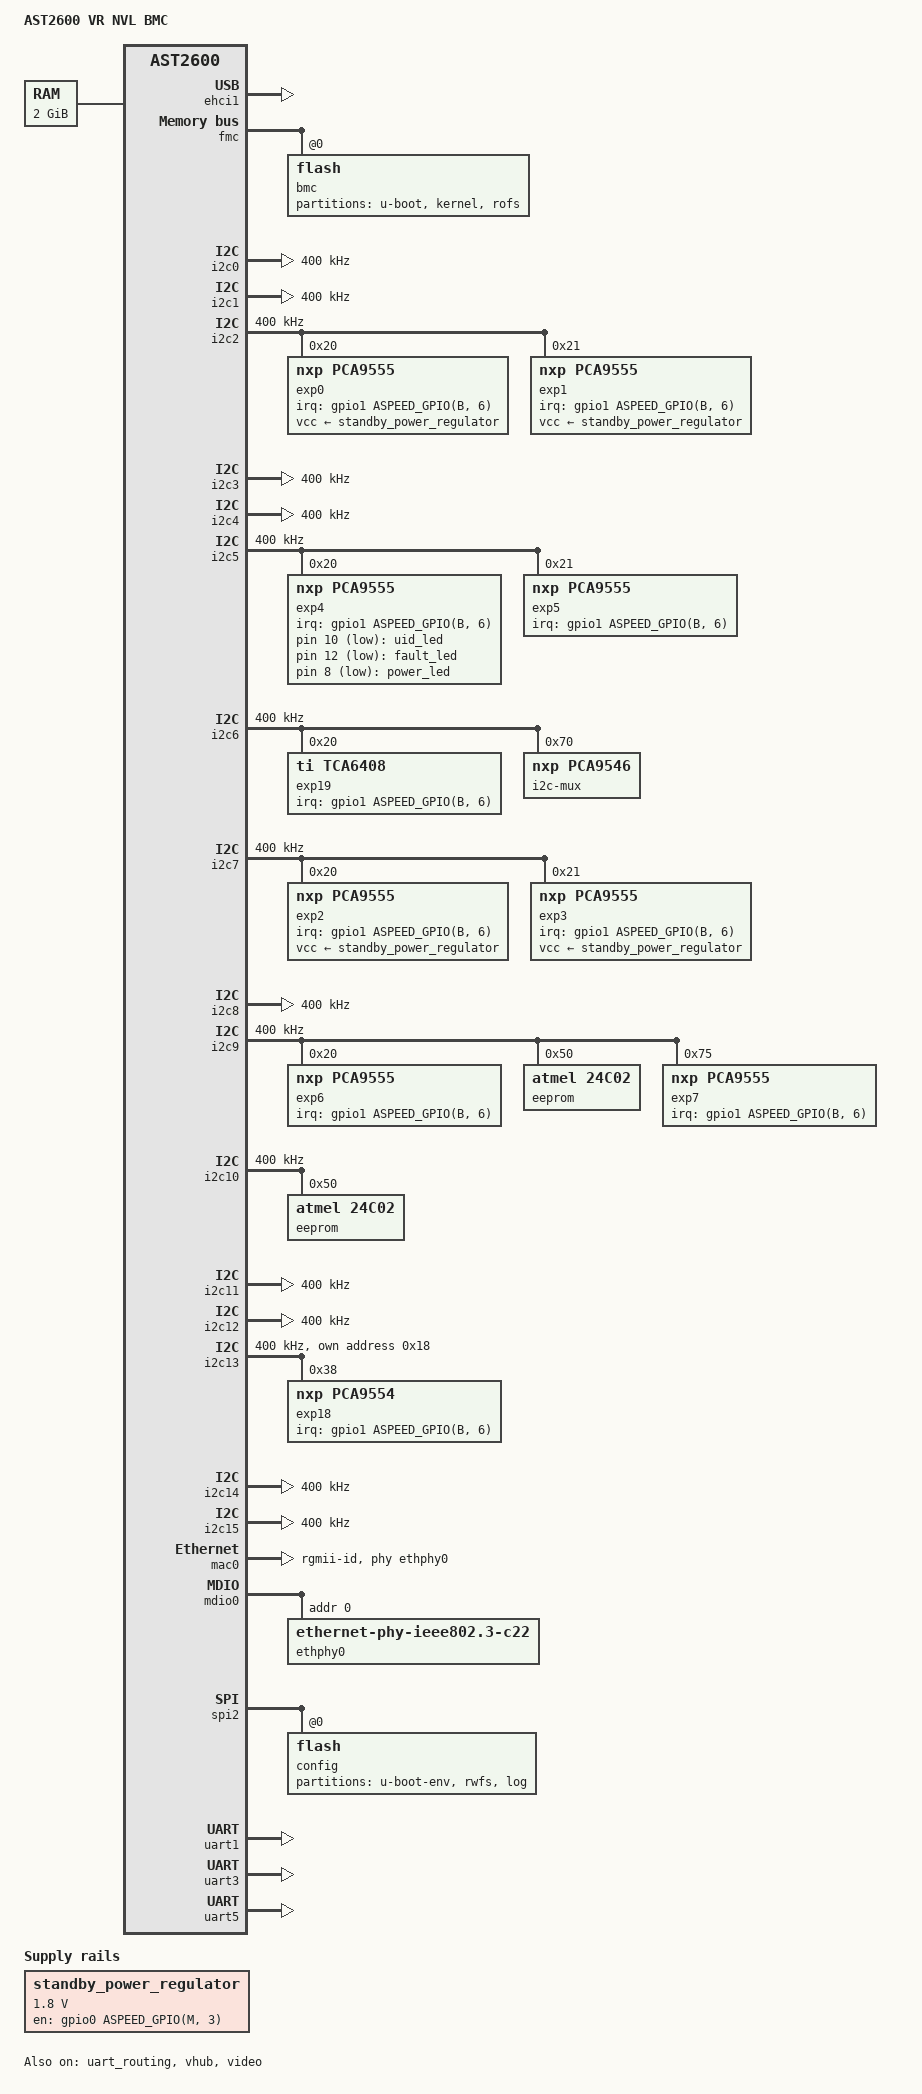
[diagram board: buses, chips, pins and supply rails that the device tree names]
// SPDX-License-Identifier: GPL-2.0
// Copyright (c) 2026 NVIDIA Corporation

/dts-v1/;

#include "aspeed-g6.dtsi"
#include <dt-bindings/gpio/aspeed-gpio.h>
#include <dt-bindings/i2c/i2c.h>
#include <dt-bindings/interrupt-controller/irq.h>
#include <dt-bindings/leds/common.h>

/ {
	model = "AST2600 VR NVL BMC";
	compatible = "nvidia,vr-nvl-bmc", "aspeed,ast2600";

	aliases {
		i2c16 = &i2c_usbhub;
		i2c17 = &i2c_tpm;
		i2c18 = &i2c_dp;
		serial2 = &uart3;
		serial4 = &uart5;
	};

	chosen {
		stdout-path = &uart5;
	};

	memory@80000000 {
		device_type = "memory";
		reg = <0x80000000 0x80000000>;
	};

	reserved-memory {
		#address-cells = <1>;
		#size-cells = <1>;
		ranges;

		vga_memory: framebuffer@9f000000 {
			no-map;
			reg = <0x9f000000 0x01000000>;	/* 16 MiB */
		};

		ramoops@a0000000 {
			compatible = "ramoops";
			reg = <0xa0000000 0x100000>;	/* 1 MiB */
			record-size = <0x10000>;	/* 64 KiB */
			max-reason = <2>;		/* KMSG_DUMP_OOPS */
		};

		gfx_memory: framebuffer {
			compatible = "shared-dma-pool";
			size = <0x01000000>;
			alignment = <0x01000000>;
			reusable;
		};

		video_engine_memory: jpegbuffer {
			compatible = "shared-dma-pool";
			size = <0x02000000>;		/* 32 MiB */
			alignment = <0x01000000>;
			reusable;
		};
	};

	standby_power_regulator: regulator-standby-power {
		compatible = "regulator-fixed";
		regulator-name = "standby_power";
		regulator-min-microvolt = <1800000>;
		regulator-max-microvolt = <1800000>;
		gpios = <&gpio0 ASPEED_GPIO(M, 3) GPIO_ACTIVE_HIGH>;
		enable-active-high;
		regulator-always-on;
		regulator-boot-on;
	};

	leds {
		compatible = "gpio-leds";

		led-0 {
			label = "uid_led";
			gpios = <&exp4 10 GPIO_ACTIVE_LOW>;
		};

		led-1 {
			label = "fault_led";
			gpios = <&exp4 12 GPIO_ACTIVE_LOW>;
		};

		led-2 {
			label = "power_led";
			gpios = <&exp4 8 GPIO_ACTIVE_LOW>;
		};
	};
};

&ehci1 {
	#address-cells = <1>;
	#size-cells = <0>;
	status = "okay";

	hub@1 {
		reg = <1>;
		#address-cells = <1>;
		#size-cells = <0>;

		hub@1 {
			reg = <1>;
			#address-cells = <1>;
			#size-cells = <0>;

			hub@4 {
				reg = <4>;
				#address-cells = <1>;
				#size-cells = <0>;

				/* port 1: BlueField-4 SMA management interface */
				device@1 {
					reg = <1>;
					#address-cells = <2>;
					#size-cells = <0>;

					interface@1 {
						reg = <1 1>;
					};
				};

				cp2112g: device@2 {
					reg = <2>;
					gpio-controller;
					#gpio-cells = <2>;
					interrupt-controller;
					#interrupt-cells = <2>;
					gpio-line-names =
						"BF4_USB_MCU_RECOVERY_L",
						"BF4_USB_MCU_RST_L",
						"BF4_USB_FORCE_FNP_L",
						"BF4_GLOBAL_WP",
						"BF4_FORCE_POR_L",
						"BF4_BMC_EROT_RST_L",
						"BF4_BMC_EROT_RECOVERY_L",
						"BF4_THERM_SHUTDOWN";
				};
			};
		};

		hub@2 {
			reg = <2>;
			#address-cells = <1>;
			#size-cells = <0>;

			hub@1 {
				reg = <1>;
				#address-cells = <1>;
				#size-cells = <0>;

				hub@3 {
					reg = <3>;
					#address-cells = <1>;
					#size-cells = <0>;
					device@1 {
						reg = <1>;
						#address-cells = <2>;
						#size-cells = <0>;

						iob1_sma: interface@1 {
							reg = <1 1>;

							gpio-controller;
							#gpio-cells = <2>;
							interrupt-controller;
							#interrupt-cells = <2>;
						};
					};

					cp2112c: device@2 {
						reg = <2>;
						gpio-controller;
						#gpio-cells = <2>;
						interrupt-controller;
						#interrupt-cells = <2>;
						gpio-line-names =
							"IOB1_MCP_P0_2-B",
							"IOB1_MCU_RST_L-O",
							"IOB1_MCU_RECOVERY_L-O",
							"IOB1_GLOBAL_WP-O",
							"IOB1_GLOBAL_ADDR_L_R-O",
							"IOB1_GLOBAL_ADDR_U_D-O",
							"IOB1_PWR_EN-O",
							"IOB1_MCU_READY_STATUS-I";
					};
				};

				hub@4 {
					reg = <4>;
					#address-cells = <1>;
					#size-cells = <0>;
					device@1 {
						reg = <1>;
						#address-cells = <2>;
						#size-cells = <0>;

						iob0_sma: interface@1 {
							reg = <1 1>;

							gpio-controller;
							#gpio-cells = <2>;
							interrupt-controller;
							#interrupt-cells = <2>;
						};
					};

					cp2112d: device@2 {
						reg = <2>;
						gpio-controller;
						#gpio-cells = <2>;
						interrupt-controller;
						#interrupt-cells = <2>;
						gpio-line-names =
							"IOB0_MCP_P0_2-B",
							"IOB0_MCU_RST_L-O",
							"IOB0_MCU_RECOVERY_L-O",
							"IOB0_GLOBAL_WP-O",
							"IOB0_GLOBAL_ADDR_L_R-O",
							"IOB0_GLOBAL_ADDR_U_D-O",
							"IOB0_PWR_EN-O",
							"IOB0_MCU_READY_STATUS-I";
					};
				};

				device@1 {
					reg = <1>;
					#address-cells = <2>;
					#size-cells = <0>;

					cp2112a: interface@1 {
						reg = <1 1>;
						gpio-controller;
						#gpio-cells = <2>;
						interrupt-controller;
						#interrupt-cells = <2>;
					};
				};
			};

			hub@2 {
				reg = <2>;
				#address-cells = <1>;
				#size-cells = <0>;

				hub@3 {
					reg = <3>;
					#address-cells = <1>;
					#size-cells = <0>;
					device@1 {
						reg = <1>;
						#address-cells = <2>;
						#size-cells = <0>;

						iob2_sma: interface@1 {
							reg = <1 1>;

							gpio-controller;
							#gpio-cells = <2>;
							interrupt-controller;
							#interrupt-cells = <2>;
						};
					};

					cp2112e: device@2 {
						reg = <2>;
						gpio-controller;
						#gpio-cells = <2>;
						interrupt-controller;
						#interrupt-cells = <2>;
						gpio-line-names =
							"IOB2_MCP_P0_2-B",
							"IOB2_MCU_RST_L-O",
							"IOB2_MCU_RECOVERY_L-O",
							"IOB2_GLOBAL_WP-O",
							"IOB2_GLOBAL_ADDR_L_R-O",
							"IOB2_GLOBAL_ADDR_U_D-O",
							"IOB2_PWR_EN-O",
							"IOB2_MCU_READY_STATUS-I";
					};
				};

				hub@4 {
					reg = <4>;
					#address-cells = <1>;
					#size-cells = <0>;
					device@1 {
						reg = <1>;
						#address-cells = <2>;
						#size-cells = <0>;

						iob3_sma: interface@1 {
							reg = <1 1>;

							gpio-controller;
							#gpio-cells = <2>;
							interrupt-controller;
							#interrupt-cells = <2>;
						};
					};

					cp2112f: device@2 {
						reg = <2>;
						gpio-controller;
						#gpio-cells = <2>;
						interrupt-controller;
						#interrupt-cells = <2>;
						gpio-line-names =
							"IOB3_MCP_P0_2-B",
							"IOB3_MCU_RST_L-O",
							"IOB3_MCU_RECOVERY_L-O",
							"IOB3_GLOBAL_WP-O",
							"IOB3_GLOBAL_ADDR_L_R-O",
							"IOB3_GLOBAL_ADDR_U_D-O",
							"IOB3_PWR_EN-O",
							"IOB3_MCU_READY_STATUS-I";
					};
				};

				device@1 {
					reg = <1>;
					#address-cells = <2>;
					#size-cells = <0>;

					cp2112b: interface@1 {
						reg = <1 1>;
						gpio-controller;
						#gpio-cells = <2>;
						interrupt-controller;
						#interrupt-cells = <2>;
					};
				};
			};
		};
	};
};

&fmc {
	status = "okay";

	flash@0 {
		label = "bmc";
		status = "okay";

		partitions {
			compatible = "fixed-partitions";
			#address-cells = <1>;
			#size-cells = <1>;

			partition@0 {
				reg = <0x0 0xe0000>;		/* 896 KiB */
				label = "u-boot";
			};

			partition@100000 {
				reg = <0x100000 0x900000>;	/* 9 MiB */
				label = "kernel";
			};

			partition@a00000 {
				/*
				 * extends to end of 64 MiB - 4 KiB; last
				 * 4 KiB reserved for EROT image
				 */
				reg = <0xa00000 0x35ff000>;
				label = "rofs";
			};
		};
	};
};

&gpio0 {
	gpio-line-names =
		/* A0-A7 */ "", "", "", "", "", "", "", "",
		/* B0-B7 */ "", "", "", "", "", "", "", "",
		/* C0-C7 */ "", "BF4_USB_RST_L-O", "", "", "", "", "", "",
		/* D0-D7 */ "", "", "", "", "", "FPGA_PEX_RST_L", "", "",
		/* E0-E7 */ "RTL8221_PHY_RST_L-O", "RTL8211_PHY_INT_L-I",
			    "", "", "", "", "", "MUX_SGPIO_SEL-O",
		/* F0-F7 */ "", "", "", "", "", "", "", "",
		/* G0-G7 */ "", "", "", "", "", "", "", "",
		/* H0-H7 */ "", "", "", "", "", "", "", "",
		/* I0-I7 */ "", "", "", "", "", "QSPI2_RST_L-O",
			    "GLOBAL_WP_BMC-I", "BMC_DDR4_TEN-O",
		/* J0-J7 */ "", "", "", "", "", "", "", "",
		/* K0-K7 */ "", "", "", "", "", "", "", "",
		/* L0-L7 */ "", "", "", "", "", "", "", "",
		/* M0-M7 */ "USB_HUB_RST_N-O", "BMC_FRU_WP-O",
			    "", "HMC_STBY_POWER_EN-O", "STBY_POWER_PG-I",
			    "PCIE_EP_RST_L-O", "", "",
		/* N0-N7 */ "", "", "", "", "", "", "", "",
		/* O0-O7 */ "", "", "", "", "", "", "", "",
		/* P0-P7 */ "", "", "", "", "", "", "", "",
		/* Q0-Q7 */ "", "", "", "", "", "", "", "",
		/* R0-R7 */ "", "SP0_AP_INTR_N-I", "", "", "", "", "", "",
		/* S0-S7 */ "", "", "", "", "", "", "", "",
		/* T0-T7 */ "", "", "", "", "", "", "", "",
		/* U0-U7 */ "", "", "", "", "", "", "", "",
		/* V0-V7 */ "", "", "", "", "",
			    "PCB_TEMP_ALERT-I", "", "",
		/* W0-W7 */ "", "", "", "", "", "", "", "CPU_RST_L-I",
		/* X0-X7 */ "", "", "", "", "", "", "", "",
		/* Y0-Y7 */ "", "", "", "EMMC_RST-O", "", "", "", "",
		/* Z0-Z7 */ "HMC_EROT_SPI_INT_L-I",
			    "", "", "", "", "", "", "";
};

&gpio1 {
	gpio-line-names =
		/* A0-A7 */ "", "", "", "", "", "", "", "",
		/* B0-B7 */ "", "", "", "", "AP_EROT_REQ-O",
			    "EROT_AP_GNT-I", "IO_EXPANDER_INT_L-I", "",
		/* C0-C7 */ "", "", "", "", "", "", "", "",
		/* D0-D7 */ "", "", "", "", "", "", "",
			    "I2C_SSIF_ALERT_L-I",
		/* E0-E7 */ "", "", "", "", "", "", "", "";
};

/* SSIF (CPU0 host IPMI) */
&i2c0 {
	clock-frequency = <400000>;
	status = "okay";
};

/* BMC <-> HMC management (FRU proxy) */
&i2c1 {
	clock-frequency = <400000>;
	status = "okay";
};

&i2c2 {
	clock-frequency = <400000>;
	status = "okay";

	exp0: gpio@20 {
		compatible = "nxp,pca9555";
		reg = <0x20>;
		interrupt-parent = <&gpio1>;
		interrupts = <ASPEED_GPIO(B, 6) IRQ_TYPE_LEVEL_LOW>;
		interrupt-controller;
		#interrupt-cells = <2>;
		gpio-controller;
		#gpio-cells = <2>;
		vcc-supply = <&standby_power_regulator>;
		gpio-line-names =
			"B0_M0_SHDN_FORCE_L-O",
			"B0_M0_STBY_POWER_PG-I",
			"B0_M0_THERM_OVERT_L-I",
			"B0_M0_THERM_WARN_L-I",
			"B0_M0_GLOBAL_WP-O",
			"B0_M0_USB_HUB0_RST_L-O",
			"B0_M0_PRE_SYS_RST_L-O",
			"B0_M0_LEAK_DETECT_ALERT_L-I",
			"B0_M0_RUN_POWER_EN-O",
			"B0_M0_RUN_POWER_PG-I",
			"B0_M0_CPU_CHIPTHROT_L-O",
			"B0_M0_SHDN_REQ_L-O",
			"B0_M0_CPU_SHDN_OK_L-I",
			"B0_M0_CPLD_READY-I",
			"B0_M0_PWR_BRAKE_L-O",
			"B0_M0_PWR_BRAKE_STATUS_L-I";
	};

	exp1: gpio@21 {
		compatible = "nxp,pca9555";
		reg = <0x21>;
		interrupt-parent = <&gpio1>;
		interrupts = <ASPEED_GPIO(B, 6) IRQ_TYPE_LEVEL_LOW>;
		interrupt-controller;
		#interrupt-cells = <2>;
		gpio-controller;
		#gpio-cells = <2>;
		vcc-supply = <&standby_power_regulator>;
		gpio-line-names =
			"B0_M0_I2C_BUS_MUX_RESET_L-O",
			"B0_M0_HPM_MCU_OK-I",
			"B0_M0_CPU_L0_RST_IND_L-O",
			"B0_M0_C0_SOCAMM_DAC_SEL0-O",
			"B0_M0_C1_SOCAMM_DAC_SEL1-O",
			"B0_M0_C0_SOCAMM_I2C_SEL_R-O",
			"B0_M0_C1_SOCAMM_I2C_SEL_R-O",
			"B0_M0_EEPROM_POWER_DISABLE-O",
			"B0_M0_L0L1_RST_L-I",
			"B0_M0_L2_RST_L-I",
			"B0_M0_BRD_ID_0-I",
			"B0_M0_BRD_ID_1-I",
			"B0_M0_BMC_LEAK_TEST_L-O",
			"B0_M0_MCU_BMC_ALERT_L-I",
			"B0_M0_CPU_BOOT_COMPLETE_3V3-I",
			"B0_M0_BMC_TO_GPU_MCU_I2C_EN-O";
	};
};

/* HMC virtual EEPROM / sensor proxy */
&i2c3 {
	clock-frequency = <400000>;
	status = "okay";
};

/* MCIO expansion connector (HPM board 0) */
&i2c4 {
	clock-frequency = <400000>;
	status = "okay";
};

&i2c5 {
	clock-frequency = <400000>;
	status = "okay";

	exp4: gpio@20 {
		compatible = "nxp,pca9555";
		reg = <0x20>;
		interrupt-parent = <&gpio1>;
		interrupts = <ASPEED_GPIO(B, 6) IRQ_TYPE_LEVEL_LOW>;
		interrupt-controller;
		#interrupt-cells = <2>;
		gpio-controller;
		#gpio-cells = <2>;
		gpio-line-names =
			"HMC_RST_R_L-O",
			"HMC_RECOVERY_R-O",
			"HMC_SPI_MUX_R_SEL-O",
			"GLOBAL_WP-O",
			"HMC_READY-I",
			"HMC_PRSNT_R-I",
			"BMC_SELF_PWR_CYCLE-O",
			"EEDO_LED2-O",
			"PWR_LED_L-O",
			"PWR_BTN_L-I",
			"UID_LED_L-O",
			"UID_BTN_L-I",
			"FAULT_LED_L-O",
			"USB2_HUB_RST_L-O",
			"IOX_GPIO_P16_TP",
			"WARN_LED_L-O";
	};

	exp5: gpio@21 {
		compatible = "nxp,pca9555";
		reg = <0x21>;
		interrupt-parent = <&gpio1>;
		interrupts = <ASPEED_GPIO(B, 6) IRQ_TYPE_LEVEL_LOW>;
		interrupt-controller;
		#interrupt-cells = <2>;
		gpio-controller;
		#gpio-cells = <2>;
		gpio-line-names =
			"BMC_HMC_MUX_SEL-O",
			"BMC_TPM_MUX_SEL-O",
			"BMC_USB2_MUX_SEL-O",
			"HMC_PGOOD_3V3-I",
			"BF3_AOC_NCSI_PRSNT_L-I",
			"HDR_SPI_PRSNT_L-I",
			"SW_NRESET_R_L-O",
			"MUX_I2C_ESPI_SEL-O",
			"I2C_BUS_MUX_RESET_L-O",
			"USB_MUX_EN-O",
			"PDB_TRAY_RST-O",
			"USB_PWR_EN-O",
			"RTC_CLR_L-O",
			"I2C_RTC_ALERT_L-I",
			"X86_TPM_RST_SEL_L-O",
			"BMC_MUX_PI3DP_SEL-O";
	};
};

&i2c6 {
	clock-frequency = <400000>;
	status = "okay";

	exp19: gpio@20 {
		compatible = "ti,tca6408";
		reg = <0x20>;
		interrupt-parent = <&gpio1>;
		interrupts = <ASPEED_GPIO(B, 6) IRQ_TYPE_LEVEL_LOW>;
		interrupt-controller;
		#interrupt-cells = <2>;
		gpio-controller;
		#gpio-cells = <2>;
		gpio-line-names =
			"", "",
			"HMC_EROT_FATAL_ERROR_L-I", "",
			"", "HMC_EROT_RECOVERY_L-O",
			"HMC_EROT_RESET_L-O", "";
	};

	i2c-mux@70 {
		compatible = "nxp,pca9546";
		reg = <0x70>;
		#address-cells = <1>;
		#size-cells = <0>;
		i2c-mux-idle-disconnect;

		/* USB hub sideband */
		i2c_usbhub: i2c@0 {
			reg = <0>;
			#address-cells = <1>;
			#size-cells = <0>;
		};

		/* optional TPM mux (unused; primary TPM is SPI) */
		i2c_tpm: i2c@1 {
			reg = <1>;
			#address-cells = <1>;
			#size-cells = <0>;
		};

		/* DisplayPort/USB-C crossbar */
		i2c_dp: i2c@2 {
			reg = <2>;
			#address-cells = <1>;
			#size-cells = <0>;
		};
	};
};

&i2c7 {
	clock-frequency = <400000>;
	status = "okay";

	exp2: gpio@20 {
		compatible = "nxp,pca9555";
		reg = <0x20>;
		interrupt-parent = <&gpio1>;
		interrupts = <ASPEED_GPIO(B, 6) IRQ_TYPE_LEVEL_LOW>;
		interrupt-controller;
		#interrupt-cells = <2>;
		gpio-controller;
		#gpio-cells = <2>;
		vcc-supply = <&standby_power_regulator>;
		gpio-line-names =
			"B1_M0_SHDN_FORCE_L-O",
			"B1_M0_STBY_POWER_PG-I",
			"B1_M0_THERM_OVERT_L-I",
			"B1_M0_THERM_WARN_L-I",
			"B1_M0_GLOBAL_WP-O",
			"B1_M0_USB_HUB0_RST_L-O",
			"B1_M0_PRE_SYS_RST_L-O",
			"B1_M0_LEAK_DETECT_ALERT_L-I",
			"B1_M0_RUN_POWER_EN-O",
			"B1_M0_RUN_POWER_PG-I",
			"B1_M0_CPU_CHIPTHROT_L-O",
			"B1_M0_SHDN_REQ_L-O",
			"B1_M0_CPU_SHDN_OK_L-I",
			"B1_M0_CPLD_READY-I",
			"B1_M0_PWR_BRAKE_L-O",
			"B1_M0_PWR_BRAKE_STATUS_L-I";
	};

	exp3: gpio@21 {
		compatible = "nxp,pca9555";
		reg = <0x21>;
		interrupt-parent = <&gpio1>;
		interrupts = <ASPEED_GPIO(B, 6) IRQ_TYPE_LEVEL_LOW>;
		interrupt-controller;
		#interrupt-cells = <2>;
		gpio-controller;
		#gpio-cells = <2>;
		vcc-supply = <&standby_power_regulator>;
		gpio-line-names =
			"B1_M0_I2C_BUS_MUX_RESET_L-O",
			"B1_M0_HPM_MCU_OK-I",
			"B1_M0_CPU_L0_RST_IND_L-O",
			"B1_M0_C0_SOCAMM_DAC_SEL0-O",
			"B1_M0_C1_SOCAMM_DAC_SEL1-O",
			"B1_M0_C0_SOCAMM_I2C_SEL_R-O",
			"B1_M0_C1_SOCAMM_I2C_SEL_R-O",
			"B1_M0_EEPROM_POWER_DISABLE-O",
			"B1_M0_L0L1_RST_L-I",
			"B1_M0_L2_RST_L-I",
			"B1_M0_BRD_ID_0-I",
			"B1_M0_BRD_ID_1-I",
			"B1_M0_BMC_LEAK_TEST_L-O",
			"B1_M0_MCU_BMC_ALERT_L-I",
			"B1_M0_CPU_BOOT_COMPLETE_3V3-I",
			"B1_M0_BMC_TO_GPU_MCU_I2C_EN-O";
	};
};

/* SSIF (CPU1 host IPMI) */
&i2c8 {
	clock-frequency = <400000>;
	status = "okay";
};

&i2c9 {
	clock-frequency = <400000>;
	status = "okay";

	exp6: gpio@20 {
		compatible = "nxp,pca9555";
		reg = <0x20>;
		interrupt-parent = <&gpio1>;
		interrupts = <ASPEED_GPIO(B, 6) IRQ_TYPE_LEVEL_LOW>;
		interrupt-controller;
		#interrupt-cells = <2>;
		gpio-controller;
		#gpio-cells = <2>;
		gpio-line-names =
			"PDB_STRAP-I",
			"STBY_POWER_EN-O",
			"STBY_PWR_OK-I",
			"", "",
			"MAIN_PWR_EN-O",
			"MAIN_PWR_OK-I",
			"PDB_GLB_WP-O",
			"PDB_PWR_BRK_L-I",
			"FAN_PRSNT-I",
			"", "",
			"HSC4_S5_OR_S0_N-O",
			"", "", "";
	};

	eeprom@50 {
		compatible = "atmel,24c02";
		reg = <0x50>;
		pagesize = <8>;
	};

	exp7: gpio@75 {
		compatible = "nxp,pca9555";
		reg = <0x75>;
		interrupt-parent = <&gpio1>;
		interrupts = <ASPEED_GPIO(B, 6) IRQ_TYPE_LEVEL_LOW>;
		interrupt-controller;
		#interrupt-cells = <2>;
		gpio-controller;
		#gpio-cells = <2>;
		gpio-line-names =
			"SNN_PDB_RUN_IO0_A_R_PG-I",
			"RST_STBY_R_L-O",
			"SNN_PDB_RUN_IO0_B_R_EN-O",
			"PSU1_PRSNT_R_N-O",
			"PSU2_PRSNT_R_N-O",
			"PSU3_PRSNT_R_N-O",
			"PSU4_PRSNT_R_N-O",
			"PDB_12V_PG_R-I",
			"PDB_12V_2_PG_R-I",
			"PDB_12V_2_EN_R-O",
			"PDB_12V_EN_N_R-O",
			"",
			"HSC_PG_VIN_PG_R-I",
			"PDB_PSU_SMB_ALERT_L_R-O",
			"SNN_JSB2_17_R-I",
			"TRAY_RST_L_R-I";
	};
};

&i2c10 {
	clock-frequency = <400000>;
	status = "okay";

	eeprom@50 {
		compatible = "atmel,24c02";
		reg = <0x50>;
		pagesize = <8>;
	};
};

/* Realtek Ethernet switch config EEPROM */
&i2c11 {
	clock-frequency = <400000>;
	status = "okay";
};

/* BMC EROT */
&i2c12 {
	clock-frequency = <400000>;
	status = "okay";
};

&i2c13 {
	clock-frequency = <400000>;
	multi-master;
	mctp-controller;
	status = "okay";

	mctp-controller@18 {
		compatible = "mctp-i2c-controller";
		reg = <(0x18 | I2C_OWN_SLAVE_ADDRESS)>;
	};

	exp18: gpio@38 {
		compatible = "nxp,pca9554";
		reg = <0x38>;
		interrupt-parent = <&gpio1>;
		interrupts = <ASPEED_GPIO(B, 6) IRQ_TYPE_LEVEL_LOW>;
		interrupt-controller;
		#interrupt-cells = <2>;
		gpio-controller;
		#gpio-cells = <2>;
		gpio-line-names =
			"SSD0_PRSNT_L-I",
			"E1S_PWR_EN-O",
			"SSD0_PWRDIS-O",
			"I2C_PDB_ALERT_L-I",
			"BMC_SSD0_RST_L-O",
			"GLOBAL_WP_E1S-O",
			"12V_SSD0_PGD-I",
			"SSD0_LED-O";
	};
};

/* MCIO expansion connector (HPM board 1) */
&i2c14 {
	clock-frequency = <400000>;
	status = "okay";
};

/* USB-C PD controller */
&i2c15 {
	clock-frequency = <400000>;
	status = "okay";
};

&mac0 {
	pinctrl-names = "default";
	pinctrl-0 = <&pinctrl_rgmii1_default>;
	/*
	 * The on-board PHY is strapped to add both RX and TX RGMII
	 * internal delays; declare "rgmii-id" so the MAC does not add
	 * additional delay.  The same setting is applied in the
	 * matching u-boot DTS to keep early-boot networking working.
	 */
	phy-mode = "rgmii-id";
	phy-handle = <&ethphy0>;
	status = "okay";
};

&mdio0 {
	status = "okay";

	ethphy0: ethernet-phy@0 {
		compatible = "ethernet-phy-ieee802.3-c22";
		reg = <0>;
	};
};

&spi2 {
	pinctrl-names = "default";
	pinctrl-0 = <&pinctrl_spi2_default>;
	status = "okay";

	flash@0 {
		label = "config";
		status = "okay";

		partitions {
			compatible = "fixed-partitions";
			#address-cells = <1>;
			#size-cells = <1>;

			partition@0 {
				reg = <0x0 0x40000>;	/* 256 KiB */
				label = "u-boot-env";
			};

			partition@40000 {
				reg = <0x40000 0x1000000>;	/* 16 MiB */
				label = "rwfs";
			};

			partition@1040000 {
				reg = <0x1040000 0x2800000>;	/* 40 MiB */
				label = "log";
			};
		};
	};
};

/* BMC <-> host CPU UART */
&uart1 {
	status = "okay";
};

/* Serial-over-LAN */
&uart3 {
	status = "okay";
};

/* BMC debug console */
&uart5 {
	status = "okay";
};

&uart_routing {
	status = "okay";
};

&vhub {
	status = "okay";
};

&video {
	memory-region = <&video_engine_memory>;
	status = "okay";
};
